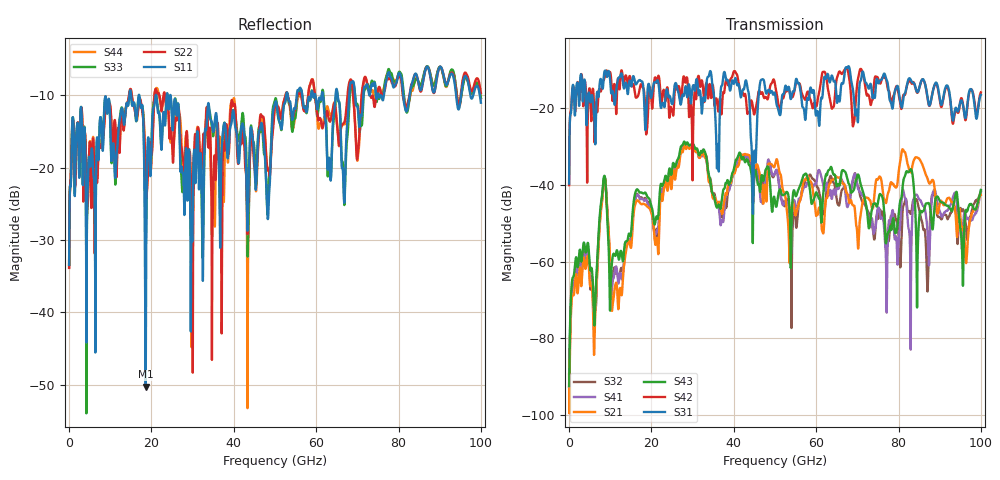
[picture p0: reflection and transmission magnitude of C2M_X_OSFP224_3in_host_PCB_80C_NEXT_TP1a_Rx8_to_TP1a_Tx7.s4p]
# GHz S RI R 45
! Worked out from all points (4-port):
!   4000 points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, 25 MHz to 100 GHz, reference 45 ohm
!   strongest paths, dB at 25 MHz, 25.02 GHz, 50.02 GHz, 75.03 GHz, 100 GHz:
!     S31: -39.7, -19.0, -16.3, -13.4, -16.6
!     S42: -40.1, -20.8, -13.9, -12.3, -15.9
!     S43: -92.4, -36.2, -44.5, -44.6, -41.3
!     S21: -89.3, -39.0, -34.8, -38.5, -42.6
!     S41: -92.5, -37.5, -36.7, -46.1, -41.6
!     S32: -91.8, -38.0, -37.0, -48.8, -41.9
!   lowest |S11| = -50.3 dB at 18.62 GHz (marker M1), VSWR 1.01, Z = 44.7 - j0.0778 ohm
!   |S11| at or under -10 dB: start of sweep to 14.64 GHz; 17.06 GHz to 21.06 GHz (3.999 GHz wide, 21 % of centre); 24.64 GHz to 52.72 GHz (28.08 GHz wide, 72.6 % of centre) (the widest 3 of 20)
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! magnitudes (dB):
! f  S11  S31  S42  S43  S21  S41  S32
! 25 MHz  -33.4  -39.7  -40.1  -92.4  -89.3  -92.5  -91.8
! 6.25 GHz  -25.0  -25.1  -28.5  -74.2  -77.6  -75.0  -71.9
! 8.55 GHz  -11.8  -10.9  -12.4  -37.7  -38.6  -38.0  -38.3
! 10.68 GHz  -16.7  -15.9  -17.1  -58.3  -70.6  -64.5  -63.7
! 18.62 GHz  -50.3  -25.3  -24.9  -42.2  -45.2  -43.8  -43.6
! 87 GHz  -6.0  -17.0  -17.3  -44.8  -38.2  -51.6  -67.3
! 100 GHz  -11.0  -16.6  -15.9  -41.3  -42.6  -41.6  -41.9
